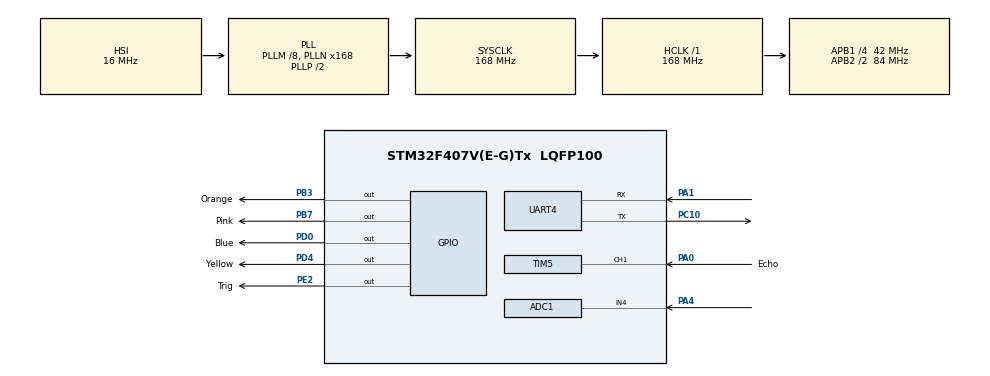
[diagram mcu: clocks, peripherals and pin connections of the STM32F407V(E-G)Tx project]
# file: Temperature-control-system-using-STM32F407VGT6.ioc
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ADC1.Channel-0\#ChannelRegularConversion=ADC_CHANNEL_4
ADC1.ExternalTrigConv=ADC_EXTERNALTRIGCONV_T2_TRGO
ADC1.NbrOfConversionFlag=1
ADC1.Rank-0\#ChannelRegularConversion=1
ADC1.SamplingTime-0\#ChannelRegularConversion=ADC_SAMPLETIME_3CYCLES
ADC1.master=1
Dma.Request0=UART4_RX
Dma.UART4_RX.0.Direction=DMA_PERIPH_TO_MEMORY
Dma.UART4_RX.0.FIFOMode=DMA_FIFOMODE_DISABLE
Dma.UART4_RX.0.Instance=DMA1_Stream2
Dma.UART4_RX.0.MemDataAlignment=DMA_MDATAALIGN_BYTE
Dma.UART4_RX.0.MemInc=DMA_MINC_ENABLE
Dma.UART4_RX.0.Mode=DMA_CIRCULAR
Dma.UART4_RX.0.PeriphDataAlignment=DMA_PDATAALIGN_BYTE
Dma.UART4_RX.0.PeriphInc=DMA_PINC_DISABLE
Dma.UART4_RX.0.Priority=DMA_PRIORITY_LOW
Mcu.Family=STM32F4
Mcu.Name=STM32F407V(E-G)Tx
Mcu.Package=LQFP100
NVIC.ADC_IRQn=true\:0\:0\:false\:false\:true\:true\:true\:true
NVIC.DMA1_Stream2_IRQn=true\:0\:0\:false\:false\:true\:false\:true\:true
NVIC.PriorityGroup=NVIC_PRIORITYGROUP_0
NVIC.TIM3_IRQn=true\:0\:0\:false\:false\:true\:true\:true\:true
NVIC.TIM5_IRQn=true\:0\:0\:false\:false\:true\:true\:true\:true
PA0-WKUP.GPIO_Label=Echo
PA0-WKUP.Signal=S_TIM5_CH1
PA1.Mode=Asynchronous
PA1.Signal=UART4_RX
PA13.Mode=Serial_Wire
PA13.Signal=SYS_JTMS-SWDIO
PA14.Mode=Serial_Wire
PA14.Signal=SYS_JTCK-SWCLK
PA4.Signal=ADCx_IN4
PB3.GPIO_Label=Orange
PB3.Signal=GPIO_Output
PB7.GPIO_Label=Pink
PB7.Signal=GPIO_Output
PC10.Mode=Asynchronous
PC10.Signal=UART4_TX
PD0.GPIO_Label=Blue
PD0.Signal=GPIO_Output
PD4.GPIO_Label=Yellow
PD4.Signal=GPIO_Output
PE2.GPIO_Label=Trig
PE2.Signal=GPIO_Output
PH0-OSC_IN.Mode=HSE-External-Oscillator
PH0-OSC_IN.Signal=RCC_OSC_IN
PH1-OSC_OUT.Mode=HSE-External-Oscillator
PH1-OSC_OUT.Signal=RCC_OSC_OUT
ProjectManager.HeapSize=0x200
ProjectManager.StackSize=0x400
ProjectManager.TargetToolchain=STM32CubeIDE
RCC.48MHZClocksFreq_Value=48000000
RCC.AHBFreq_Value=168000000
RCC.APB1CLKDivider=RCC_HCLK_DIV4
RCC.APB1Freq_Value=42000000
RCC.APB1TimFreq_Value=84000000
RCC.APB2CLKDivider=RCC_HCLK_DIV2
RCC.APB2Freq_Value=84000000
RCC.APB2TimFreq_Value=168000000
RCC.CortexFreq_Value=168000000
RCC.HCLKFreq_Value=168000000
RCC.HSE_VALUE=8000000
RCC.HSI_VALUE=16000000
RCC.LSE_VALUE=32768
RCC.PLLM=8
RCC.PLLN=168
RCC.PLLQ=7
RCC.SYSCLKFreq_VALUE=168000000
RCC.SYSCLKSource=RCC_SYSCLKSOURCE_PLLCLK
RCC.VCOOutputFreq_Value=336000000
SH.ADCx_IN4.0=ADC1_IN4,IN4
SH.S_TIM5_CH1.0=TIM5_CH1,Input_Capture1_from_TI1
TIM2.Period=62499
TIM2.Prescaler=1343
TIM2.TIM_MasterOutputTrigger=TIM_TRGO_UPDATE
TIM3.Period=923
TIM5.Channel-Input_Capture1_from_TI1=TIM_CHANNEL_1
TIM5.Period=0xffffffff
TIM5.Prescaler=83
UART4.VirtualMode=Asynchronous
VP_TIM2_VS_ClockSourceINT.Mode=Internal
VP_TIM3_VS_ClockSourceINT.Mode=Internal
board=STM32F407G-DISC1

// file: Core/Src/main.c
/* USER CODE BEGIN Header */
/**
  ******************************************************************************
  * @file           : main.c
  * @brief          : Main program body
  ******************************************************************************
  * @attention
  *
  * <h2><center>&copy; Copyright (c) 2022 STMicroelectronics.
  * All rights reserved.</center></h2>
  *
  * This software component is licensed by ST under BSD 3-Clause license,
  * the "License"; You may not use this file except in compliance with the
  * License. You may obtain a copy of the License at:
  *                        opensource.org/licenses/BSD-3-Clause
  *
  ******************************************************************************
  */
#include <stdio.h>
#include <stdlib.h>
#include "diag/trace.h"

#include "timer.h"
#include "led.h"
/* USER CODE END Header */

#include "main.h"
#include "adc.h"
#include "dma.h"
#include "tim.h"
#include "usart.h"
#include "gpio.h"

void SystemClock_Config(void);

/* USER CODE BEGIN 0 */
// Keep the LED on for 2/3 of a second.
#define BLINK_ON_TICKS  (TIMER_FREQUENCY_HZ * 3 / 4)
#define BLINK_OFF_TICKS (TIMER_FREQUENCY_HZ - BLINK_ON_TICKS)
/* USER CODE END 0 */

int main(int argc, char* argv[])
{
  /* USER CODE BEGIN 1 */
  trace_dump_args(argc, argv);

  trace_puts("Hello Arm World!");

  puts("Standard output message.");

  //fprintf(stderr, "Standard error message.\n");
  fprintf(stdout, "Standard error message.\n");

  trace_printf("System clock: %u Hz\n", SystemCoreClock);

  timer_start();

  blink_led_init();

  uint32_t seconds = 0;

#define LOOP_COUNT (10)

  int loops = LOOP_COUNT;
  if (argc > 1)
    {
      // If defined, get the number of loops from the command line,
      // configurable via semihosting.
      loops = atoi (argv[1]);
    }

  // Short loop.
  for (int i = 0; i < loops; i++)
    {
      blink_led_on();
      timer_sleep(i == 0 ? TIMER_FREQUENCY_HZ : BLINK_ON_TICKS);

      blink_led_off();
      timer_sleep(BLINK_OFF_TICKS);

      ++seconds;
      // Count seconds on the trace device.
      trace_printf("Second %u\n", seconds);
    }
  /* USER CODE END 1 */

  /* MCU Configuration--------------------------------------------------------*/

  /* Reset of all peripherals, Initializes the Flash interface and the Systick. */
  HAL_Init();

  /* Configure the system clock */
  SystemClock_Config();

  /* Initialize all configured peripherals */
  MX_GPIO_Init();
  MX_DMA_Init();
  MX_ADC1_Init();
  MX_TIM2_Init();
  MX_TIM3_Init();
  MX_TIM5_Init();
  MX_UART4_Init();

  /* Infinite loop */
  while (1)
  {

  }
}

void SystemClock_Config(void)
{
  RCC_OscInitTypeDef RCC_OscInitStruct = {0};
  RCC_ClkInitTypeDef RCC_ClkInitStruct = {0};

  /** Configure the main internal regulator output voltage
  */
  __HAL_RCC_PWR_CLK_ENABLE();
  __HAL_PWR_VOLTAGESCALING_CONFIG(PWR_REGULATOR_VOLTAGE_SCALE1);
  /** Initializes the CPU, AHB and APB busses clocks
  */
  RCC_OscInitStruct.OscillatorType = RCC_OSCILLATORTYPE_HSI;
  RCC_OscInitStruct.HSIState = RCC_HSI_ON;
  RCC_OscInitStruct.HSICalibrationValue = RCC_HSICALIBRATION_DEFAULT;
  RCC_OscInitStruct.PLL.PLLState = RCC_PLL_ON;
  RCC_OscInitStruct.PLL.PLLSource = RCC_PLLSOURCE_HSI;
  RCC_OscInitStruct.PLL.PLLM = 8;
  RCC_OscInitStruct.PLL.PLLN = 168;
  RCC_OscInitStruct.PLL.PLLP = RCC_PLLP_DIV2;
  RCC_OscInitStruct.PLL.PLLQ = 7;
  if (HAL_RCC_OscConfig(&RCC_OscInitStruct) != HAL_OK)
  {
    Error_Handler();
  }
  /** Initializes the CPU, AHB and APB busses clocks
  */
  RCC_ClkInitStruct.ClockType = RCC_CLOCKTYPE_HCLK|RCC_CLOCKTYPE_SYSCLK
                              |RCC_CLOCKTYPE_PCLK1|RCC_CLOCKTYPE_PCLK2;
  RCC_ClkInitStruct.SYSCLKSource = RCC_SYSCLKSOURCE_PLLCLK;
  RCC_ClkInitStruct.AHBCLKDivider = RCC_SYSCLK_DIV1;
  RCC_ClkInitStruct.APB1CLKDivider = RCC_HCLK_DIV4;
  RCC_ClkInitStruct.APB2CLKDivider = RCC_HCLK_DIV2;

  if (HAL_RCC_ClockConfig(&RCC_ClkInitStruct, FLASH_LATENCY_5) != HAL_OK)
  {
    Error_Handler();
  }
}

void Error_Handler(void)
{
}

/************************ (C) COPYRIGHT STMicroelectronics *****END OF FILE****/
